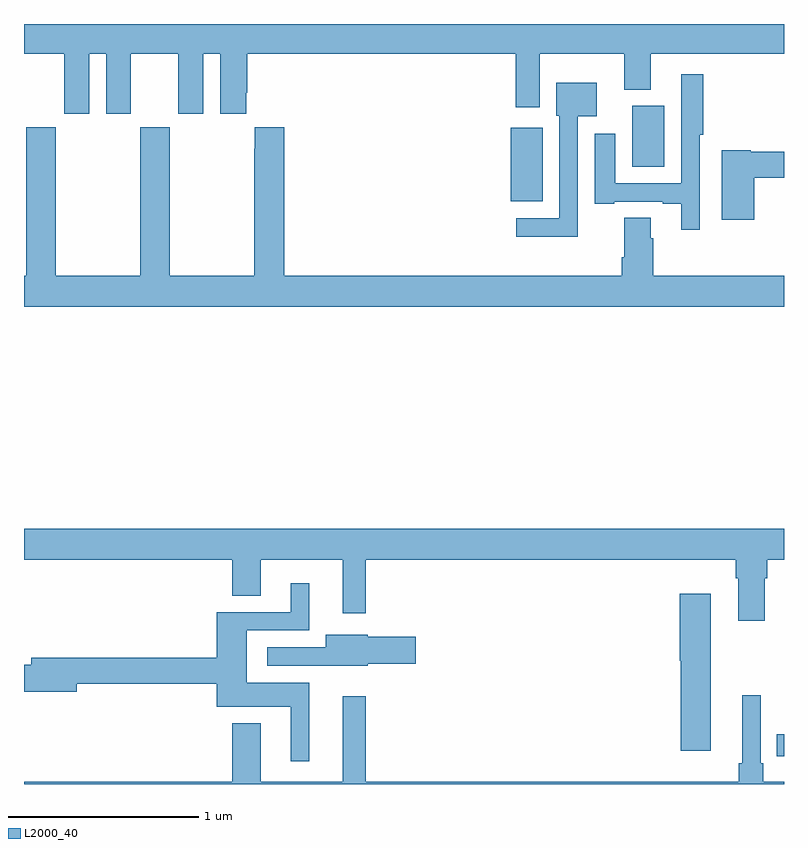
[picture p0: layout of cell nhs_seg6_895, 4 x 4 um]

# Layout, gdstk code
import gdstk
lib = gdstk.Library(unit=1e-6, precision=1e-09)
def R(c, l, rs):  # rectangles x0, y0, x1, y1
    for r in rs: c.add(gdstk.rectangle(r[:2], r[2:], *l))
def P(c, l, *ps):  # polygons
    for p in ps: c.add(gdstk.Polygon(p, *l))
L2000_40 = (2000, 40)

nhs_seg6_895 = lib.new_cell('nhs_seg6_895')
R(nhs_seg6_895, L2000_40, [(170.962,935.646,171,935.762), (169.562,938.567,169.729,938.953), (170.201,938.75,170.371,939.07)])
P(nhs_seg6_895, L2000_40, [(169.714,939.344),(170.159,939.344),(170.159,939.155),(170.299,939.155),(170.299,939.344),(171,939.344),(171,939.5),(167,939.5),(167,939.344),(167.213,939.344),(167.213,939.027),(167.344,939.027),(167.344,939.344),(167.432,939.344),(167.432,939.027),(167.563,939.027),(167.563,939.344),(167.813,939.344),(167.813,939.027),(167.944,939.027),(167.944,939.344),(168.032,939.344),(168.032,939.027),(168.169,939.027),(168.169,939.139),(168.176,939.139),(168.176,939.344),(169.589,939.344),(169.589,939.063),(169.714,939.063)],
  [(170.556,938.917),(170.576,938.917),(170.576,939.235),(170.46,939.235),(170.46,938.661),(170.113,938.661),(170.113,938.923),(170.003,938.923),(170.003,938.553),(170.107,938.553),(170.107,938.565),(170.363,938.565),(170.363,938.553),(170.459,938.553),(170.459,938.418),(170.556,938.418)],
  [(169.914,939.014),(170.014,939.014),(170.014,939.19),(169.802,939.19),(169.802,939.018),(169.818,939.018),(169.818,938.478),(169.59,938.478),(169.59,938.381),(169.914,938.381)],
  [(171,938.176),(170.312,938.176),(170.312,938.372),(170.299,938.372),(170.299,938.48),(170.159,938.48),(170.159,938.272),(170.147,938.272),(170.147,938.176),(168.371,938.176),(168.371,938.956),(168.215,938.956),(168.215,938.843),(168.211,938.843),(168.211,938.176),(167.766,938.176),(167.766,938.956),(167.611,938.956),(167.611,938.176),(167.166,938.176),(167.166,938.956),(167.011,938.956),(167.011,938.176),(167,938.176),(167,938.012),(171,938.012)],
  [(170.843,938.692),(171,938.692),(171,938.828),(170.826,938.828),(170.826,938.836),(170.672,938.836),(170.672,938.469),(170.843,938.469)],
  [(170.899,936.584),(170.912,936.584),(170.912,936.68),(171,936.68),(171,936.844),(167,936.844),(167,936.68),(168.095,936.68),(168.095,936.49),(168.247,936.49),(168.247,936.68),(168.677,936.68),(168.677,936.399),(168.799,936.399),(168.799,936.68),(170.747,936.68),(170.747,936.584),(170.759,936.584),(170.759,936.36),(170.899,936.36)],
  [(168.502,936.034),(168.172,936.034),(168.172,936.309),(168.502,936.309),(168.502,936.556),(168.404,936.556),(168.404,936.405),(168.014,936.405),(168.014,936.164),(167.039,936.164),(167.039,936.128),(167,936.128),(167,935.986),(167.278,935.986),(167.278,936.028),(168.014,936.028),(168.014,935.906),(168.404,935.906),(168.404,935.619),(168.502,935.619)],
  [(170.614,936.502),(170.45,936.502),(170.45,936.15),(170.456,936.15),(170.456,935.676),(170.614,935.676)],
  [(168.81,936.134),(169.063,936.134),(169.063,936.276),(168.81,936.276),(168.81,936.286),(168.587,936.286),(168.587,936.219),(168.279,936.219),(168.279,936.123),(168.591,936.123),(168.591,936.122),(168.81,936.122)],
  [(171,935.512),(170.891,935.512),(170.891,935.608),(170.877,935.608),(170.877,935.968),(170.78,935.968),(170.78,935.608),(170.761,935.608),(170.761,935.512),(168.799,935.512),(168.799,935.962),(168.677,935.962),(168.677,935.512),(168.247,935.512),(168.247,935.821),(168.095,935.821),(168.095,935.512),(167,935.512),(167,935.5),(171,935.5)])

lib.write_gds('nhs_seg6_895.gds')
